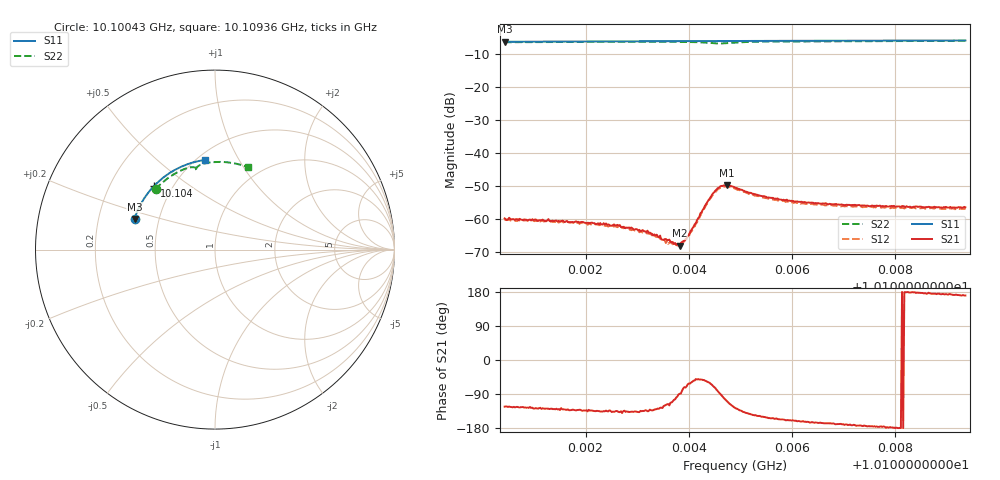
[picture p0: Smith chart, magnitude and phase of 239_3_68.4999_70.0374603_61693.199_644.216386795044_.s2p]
#  HZ  S  RI  R  50.00
! Rohde & Schwarz Vector Network Analyzer
! Rohde-Schwarz,ZNB20-2Port,1311601062101988,3.16
! Created: UTC 3/20/2024, 4:59:17 PM
! freq[Hz]  re:S11  im:S11  re:S21  im:S21  re:S12  im:S12  re:S22  im:S22
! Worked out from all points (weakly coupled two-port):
!   401 points, 10.10043 GHz to 10.10936 GHz, reference 50 ohm
!   highest |S21| = -49.86 dB at 10.10474 GHz (marker M1); lowest = -68.1 dB at 10.10383 GHz (marker M2)
!   lowest |S11| = -6.4 dB at 10.10043 GHz (marker M3), VSWR 2.85, Z = 18.1 + j8.03 ohm
!   |S11| at or under -10 dB: nowhere
!   |S22| runs from -6.9 to -6.1 dB; largest |S21 - S12| = 0.00032
!   S11 on the Smith chart (normalised r, x): 10.10043 GHz: 0.36, +0.16; 10.104 GHz: 0.40, +0.37; 10.10936 GHz: 0.55, +0.73
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1.0100432e10  -0.4484 0.1708  -0.000553 -0.000851  -0.000435 -0.000855  -0.3314 0.3368
1.0101928e10  -0.4126 0.2547  -0.000622 -0.000648  -0.000547 -0.000674  -0.2589 0.4007
1.010262e10  -0.3909 0.2905  -0.000577 -0.00057  -0.000501 -0.000554  -0.2205 0.4253
1.0102732e10  -0.387 0.2962  -0.000536 -0.000537  -0.000477 -0.000538  -0.2141 0.4287
1.0103156e10  -0.3719 0.317  -0.000441 -0.000475  -0.000405 -0.000474  -0.1886 0.4414
1.0103424e10  -0.3616 0.3298  -0.00033 -0.00041  -0.000279 -0.000452  -0.1716 0.4484
1.0103513e10  -0.3581 0.3339  -0.000252 -0.000407  -0.000221 -0.000429  -0.1656 0.4507
1.010358e10  -0.3557 0.337  -0.000217 -0.000426  -0.000214 -0.000416  -0.1613 0.4522
1.0103714e10  -0.3502 0.3431  -0.000109 -0.000402  -6.45e-05 -0.00038  -0.152 0.4549
1.0103826e10  -0.3456 0.3481  6.86e-06 -0.000394  1.69e-05 -0.000398  -0.144 0.457
1.0103915e10  -0.3419 0.352  0.000148 -0.000445  0.00013 -0.000434  -0.1373 0.4583
1.0104004e10  -0.3381 0.356  0.00027 -0.000504  0.000304 -0.000456  -0.1304 0.4592
1.0104362e10  -0.3227 0.3713  0.000962 -0.00152  0.00107 -0.00137  -0.1028 0.453
1.0104473e10  -0.3178 0.3757  0.000885 -0.00228  0.00103 -0.0021  -0.0984 0.4467
1.0104607e10  -0.3119 0.3811  5.63e-05 -0.00308  0.000303 -0.00293  -0.1012 0.4414
1.0104741e10  -0.3059 0.3865  -0.00103 -0.00304  -0.000725 -0.00303  -0.1053 0.446
1.0104897e10  -0.2987 0.3926  -0.00176 -0.00242  -0.00147 -0.00247  -0.1022 0.4566
1.0105143e10  -0.2872 0.4021  -0.00196 -0.00161  -0.00177 -0.00169  -0.0877 0.469
1.0105545e10  -0.2675 0.4165  -0.00188 -0.000943  -0.00172 -0.00107  -0.0598 0.4796
1.0106393e10  -0.2239 0.4438  -0.00169 -0.000488  -0.00157 -0.000617  -0.00289 0.488
1.0107889e10  -0.1411 0.4799  -0.00154 -6.63e-05  -0.00144 -0.000173  0.0938 0.4829
1.0109362e10  -0.0544 0.4997  -0.00147 0.000253  -0.00143 0.000104  0.1848 0.4593
